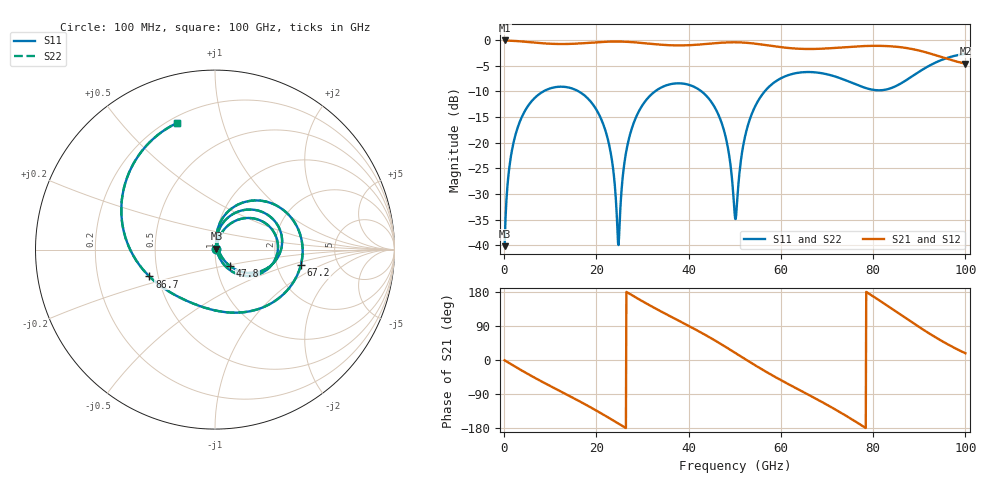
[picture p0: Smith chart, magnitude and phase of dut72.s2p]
! Touchstone file exported from HFSS 2026.1.0
!  File:  C:/ffzhzh/LocalFiles/Ansys_Project_Files/temp_train_TSV_RDL_72_1783627496_33328.aedt
!  Generated:  04:12:08 AM Jul 10, 2026
!  Design:  TSV_RDL
!  Project:  temp_train_TSV_RDL_72_1783627496_33328
! Variables:
!  h_bsmrdl = 3.5um
!  h_ox = 20um
!  h_rdl = 5um
!  h_sub = 89.68um
!  h_tmrdl = 4.24um
!  h_tsv = 89.68um
!  h_via = 3um
!  l_bsmrdl = 311.68um
!  l_sub = 1958.03um
!  l_tmrdl = 126.73um
!  m_sub = 200um
!  pitch = 48.93um
!  r_tsv = 14.32um
!  s_tmrdl = 10um
!  w_bsmrdl = 21.84um
!  w_sub = 500um
!  w_tmrdl = 16.85um
!  x_tsv_center1 = 135.155um
!  x_tsv_center2 = 468.675um
!  x_tsv_center3 = 612.255um
!  x_tsv_center4 = 945.775um
!  x_tsv_center5 = 1089.355um
!  x_tsv_center6 = 1422.875um
# GHz S MA R 50.000000
! Terminal data exported
! Port[1] = TM_RDL1_1_T1
! Port[2] = TM_RDL5_1_T1
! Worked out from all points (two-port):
!   1000 points, 100 MHz to 100 GHz, reference 50 ohm
!   highest |S21| = -0.07 dB at 100 MHz (marker M1); lowest = -4.6 dB at 100 GHz (marker M2)
!   |S21| within 3 dB of the highest: start of sweep to 93.98 GHz
!   lowest |S11| = -40.2 dB at 100 MHz (marker M3), VSWR 1.02, Z = 50.8 + j0.559 ohm
!   |S11| at or under -10 dB: start of sweep to 8.497 GHz; 16.16 GHz to 32.7 GHz (16.54 GHz wide, 67.7 % of centre); 42.79 GHz to 56.49 GHz (13.7 GHz wide, 27.6 % of centre)
!   |S22| runs from -40.2 to -2.7 dB; largest |S21 - S12| = 1.7e-14
!   S11 on the Smith chart (normalised r, x): 100 MHz: 1.02, +0.01; 47.8 GHz: 1.16, -0.22; 67.2 GHz: 2.74, -0.61; 86.7 GHz: 0.45, -0.16; 100 GHz: 0.23, +0.72
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0.1  0.00982 34.1  0.9919 -0.8  0.9919 -0.8  0.00982 34.1
! Gamma 0 0 0 0
! Port Impedance 50 0 50 0
1.6  0.08003 70.1  0.9855 -11.8  0.9855 -11.8  0.08003 70.1
4.5  0.204 53.4  0.9639 -32.4  0.9639 -32.4  0.204 53.4
10.5  0.3436 15.5  0.9194 -71.9  0.9194 -71.9  0.3436 15.5
16.8  0.3034 -23.1  0.93 -111.9  0.93 -111.9  0.3034 -23.2
22.2  0.1206 -56.6  0.9641 -149.1  0.9641 -149.1  0.1206 -56.8
24.8  0.01006 19.2  0.9682 -167.9  0.9682 -167.9  0.00974 19.1
27.5  0.1298 76.6  0.957 172.5  0.957 172.5  0.1297 76.7
33.4  0.3323 39.8  0.906 132.1  0.906 132.1  0.3322 39.8
41.2  0.3502 -7.8  0.8976 82.3  0.8976 82.3  0.3502 -7.8
47.8  0.1249 -47.5  0.9469 36.2  0.9469 36.2  0.125 -47.6
50.1  0.01808 8.7  0.952 18.8  0.952 18.8  0.01784 8.3
52.2  0.1136 82.5  0.9437 2.7  0.9437 2.7  0.1135 82.7
55  0.2535 67.0  0.9159 -18.3  0.9159 -18.3  0.2534 67.1
60.6  0.4375 31.0  0.8468 -57.0  0.8468 -57.0  0.4374 31.0
66.7  0.4876 -6.9  0.8191 -96.4  0.8191 -96.4  0.4875 -6.8
67.2  0.4861 -10.0  0.8197 -99.6  0.8197 -99.6  0.486 -10.0
76.6  0.3647 -74.5  0.869 -165.6  0.869 -165.6  0.3646 -74.4
83.4  0.3348 -129.5  0.8725 140.7  0.8725 140.7  0.3348 -129.4
86.7  0.3946 -157.7  0.8442 113.7  0.8442 113.7  0.3946 -157.6
93.5  0.6035 148.1  0.7133 60.0  0.7133 60.0  0.6035 148.2
100  0.736 106.9  0.5905 17.8  0.5905 17.8  0.7361 106.9
